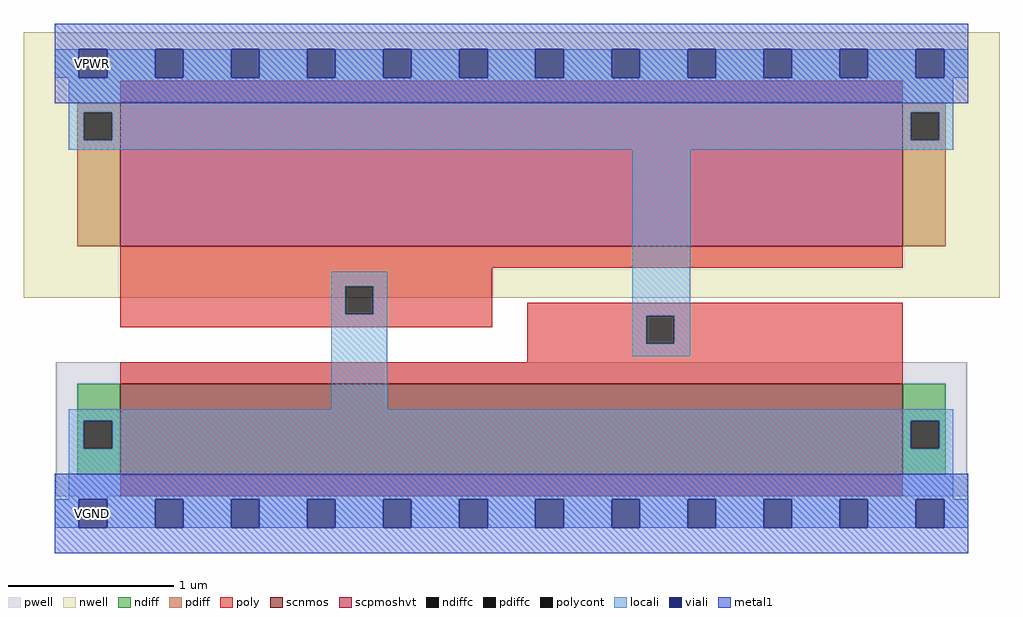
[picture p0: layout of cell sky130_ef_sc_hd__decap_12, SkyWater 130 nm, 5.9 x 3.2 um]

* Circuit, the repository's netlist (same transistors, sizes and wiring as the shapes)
* NGSPICE file created from sky130_ef_sc_hd__decap_12.ext - technology: sky130A

.subckt sky130_ef_sc_hd__decap_12 VGND VPWR VPB VNB
X0 VPWR VGND VPWR VPB sky130_fd_pr__pfet_01v8_hvt ad=0.226 pd=2.26 as=0.452 ps=4.52 w=0.87 l=4.73
X1 VGND VPWR VGND VNB sky130_fd_pr__nfet_01v8 ad=0.143 pd=1.62 as=0.286 ps=3.24 w=0.55 l=4.73
.ends

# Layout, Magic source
magic
tech sky130A
magscale 1 2
<< nwell >>
rect -38 261 1142 582
<< pwell >>
rect 1 21 1103 183
rect 29 -17 63 21
<< scnmos >>
rect 79 47 1025 157
<< scpmoshvt >>
rect 79 323 1025 497
<< ndiff >>
rect 27 112 79 157
rect 27 78 35 112
rect 69 78 79 112
rect 27 47 79 78
rect 1025 112 1077 157
rect 1025 78 1035 112
rect 1069 78 1077 112
rect 1025 47 1077 78
<< pdiff >>
rect 27 485 79 497
rect 27 451 35 485
rect 69 451 79 485
rect 27 323 79 451
rect 1025 485 1077 497
rect 1025 451 1035 485
rect 1069 451 1077 485
rect 1025 323 1077 451
<< ndiffc >>
rect 35 78 69 112
rect 1035 78 1069 112
<< pdiffc >>
rect 35 451 69 485
rect 1035 451 1069 485
<< poly >>
rect 79 497 1025 523
rect 79 297 1025 323
rect 79 275 529 297
rect 79 241 351 275
rect 385 241 529 275
rect 79 225 529 241
rect 571 239 1025 255
rect 571 205 715 239
rect 749 205 1025 239
rect 571 183 1025 205
rect 79 157 1025 183
rect 79 21 1025 47
<< polycont >>
rect 351 241 385 275
rect 715 205 749 239
<< locali >>
rect 0 527 29 561
rect 63 527 121 561
rect 155 527 213 561
rect 247 527 305 561
rect 339 527 397 561
rect 431 527 489 561
rect 523 527 581 561
rect 615 527 673 561
rect 707 527 765 561
rect 799 527 857 561
rect 891 527 949 561
rect 983 527 1041 561
rect 1075 527 1104 561
rect 17 485 1086 527
rect 17 451 35 485
rect 69 451 1035 485
rect 1069 451 1086 485
rect 17 440 1086 451
rect 334 275 402 292
rect 334 241 351 275
rect 385 241 402 275
rect 334 126 402 241
rect 698 239 768 440
rect 698 205 715 239
rect 749 205 768 239
rect 698 190 768 205
rect 17 112 1086 126
rect 17 78 35 112
rect 69 78 1035 112
rect 1069 78 1086 112
rect 17 17 1086 78
rect 0 -17 29 17
rect 63 -17 121 17
rect 155 -17 213 17
rect 247 -17 305 17
rect 339 -17 397 17
rect 431 -17 489 17
rect 523 -17 581 17
rect 615 -17 673 17
rect 707 -17 765 17
rect 799 -17 857 17
rect 891 -17 949 17
rect 983 -17 1041 17
rect 1075 -17 1104 17
<< viali >>
rect 29 527 63 561
rect 121 527 155 561
rect 213 527 247 561
rect 305 527 339 561
rect 397 527 431 561
rect 489 527 523 561
rect 581 527 615 561
rect 673 527 707 561
rect 765 527 799 561
rect 857 527 891 561
rect 949 527 983 561
rect 1041 527 1075 561
rect 29 -17 63 17
rect 121 -17 155 17
rect 213 -17 247 17
rect 305 -17 339 17
rect 397 -17 431 17
rect 489 -17 523 17
rect 581 -17 615 17
rect 673 -17 707 17
rect 765 -17 799 17
rect 857 -17 891 17
rect 949 -17 983 17
rect 1041 -17 1075 17
<< metal1 >>
rect 0 561 1104 592
rect 0 527 29 561
rect 63 527 121 561
rect 155 527 213 561
rect 247 527 305 561
rect 339 527 397 561
rect 431 527 489 561
rect 523 527 581 561
rect 615 527 673 561
rect 707 527 765 561
rect 799 527 857 561
rect 891 527 949 561
rect 983 527 1041 561
rect 1075 527 1104 561
rect 0 496 1104 527
rect 0 17 1104 48
rect 0 -17 29 17
rect 63 -17 121 17
rect 155 -17 213 17
rect 247 -17 305 17
rect 339 -17 397 17
rect 431 -17 489 17
rect 523 -17 581 17
rect 615 -17 673 17
rect 707 -17 765 17
rect 799 -17 857 17
rect 891 -17 949 17
rect 983 -17 1041 17
rect 1075 -17 1104 17
rect 0 -48 1104 -17
<< labels >>
flabel metal1 s 29 -17 63 17 0 FreeSans 200 0 0 0 VGND
port 2 nsew
flabel metal1 s 29 527 63 561 0 FreeSans 200 0 0 0 VPWR
port 3 nsew
flabel nwell s 29 527 63 561 0 FreeSans 200 0 0 0 VPB
port 4 nsew
flabel pwell s 29 -17 63 17 0 FreeSans 200 0 0 0 VNB
port 5 nsew
rlabel comment s 0 0 0 0 4 decap_12
<< properties >>
string FIXED_BBOX 0 0 1104 544
string GDS_END 3895994
string GDS_FILE $PDKPATH/libs.ref/sky130_fd_sc_hd/gds/sky130_fd_sc_hd.gds
string GDS_START 3892268
string path 0.000 0.000 27.600 0.000 
<< end >>
